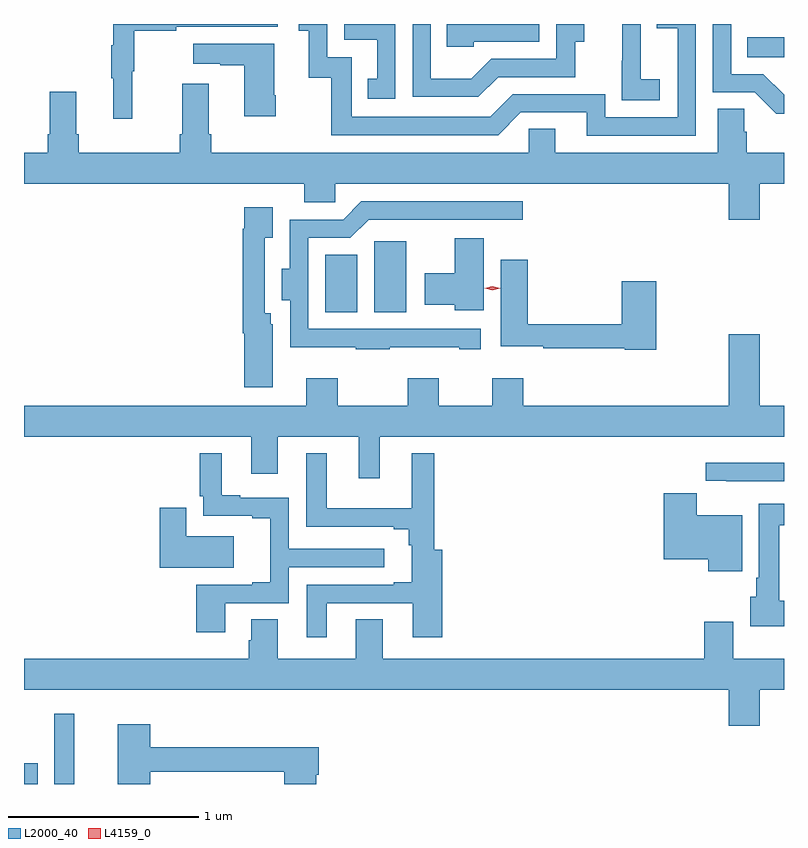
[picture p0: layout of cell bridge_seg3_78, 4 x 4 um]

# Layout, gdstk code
import gdstk
lib = gdstk.Library(unit=1e-6, precision=1e-09)
def R(c, l, rs):  # rectangles x0, y0, x1, y1
    for r in rs: c.add(gdstk.rectangle(r[:2], r[2:], *l))
def P(c, l, *ps):  # polygons
    for p in ps: c.add(gdstk.Polygon(p, *l))
L2000_40 = (2000, 40)
L4159_0 = (4159, 0)

bridge_seg3_78 = lib.new_cell('bridge_seg3_78')
R(bridge_seg3_78, L2000_40, [(425.035,688.433,425.107,688.543), (425.195,688.433,425.299,688.804), (426.62,690.917,426.79,691.219), (426.878,690.917,427.048,691.29), (428.842,692.258,429.035,692.362)])
P(bridge_seg3_78, L2000_40, [(428.38,692.143),(428.282,692.143),(428.282,692.372),(428.28,692.372),(428.28,692.433),(428.183,692.433),(428.183,692.239),(428.182,692.239),(428.182,692.033),(428.38,692.033)],
  [(427.401,692.34),(427.746,692.34),(427.746,692.433),(427.261,692.433),(427.261,692.313),(427.401,692.313)],
  [(428.571,692.433),(428.365,692.433),(428.365,692.41),(428.475,692.41),(428.475,691.941),(428.094,691.941),(428.094,692.064),(427.608,692.064),(427.488,691.944),(426.759,691.944),(426.759,692.259),(426.63,692.259),(426.63,692.433),(426.48,692.433),(426.48,692.397),(426.533,692.397),(426.533,692.151),(426.651,692.151),(426.651,691.848),(427.53,691.848),(427.65,691.968),(427.997,691.968),(427.997,691.845),(428.571,691.845)],
  [(429.035,692.06),(428.926,692.169),(428.757,692.169),(428.757,692.433),(428.661,692.433),(428.661,692.073),(428.88,692.073),(428.993,691.961),(429.035,691.961)],
  [(427.531,692.154),(427.935,692.154),(427.935,692.339),(427.984,692.339),(427.984,692.433),(427.836,692.433),(427.836,692.25),(427.494,692.25),(427.39,692.146),(427.176,692.146),(427.176,692.433),(427.08,692.433),(427.08,692.049),(427.426,692.049)],
  [(425.606,692.184),(425.614,692.184),(425.614,692.398),(425.837,692.398),(425.837,692.418),(426.37,692.418),(426.37,692.433),(425.504,692.433),(425.504,692.321),(425.493,692.321),(425.493,692.147),(425.504,692.147),(425.504,691.935),(425.606,691.935)],
  [(426.99,692.433),(426.72,692.433),(426.72,692.349),(426.893,692.349),(426.893,692.145),(426.844,692.145),(426.844,692.04),(426.99,692.04)],
  [(426.36,692.059),(426.352,692.059),(426.352,692.329),(425.925,692.329),(425.925,692.225),(426.068,692.225),(426.068,692.215),(426.194,692.215),(426.194,691.947),(426.36,691.947)],
  [(428.908,691.592),(429.035,691.592),(429.035,691.756),(428.84,691.756),(428.84,691.865),(428.826,691.865),(428.826,691.988),(428.687,691.988),(428.687,691.756),(427.831,691.756),(427.831,691.883),(427.692,691.883),(427.692,691.756),(426.02,691.756),(426.02,691.852),(426.007,691.852),(426.007,692.119),(425.867,692.119),(425.867,691.852),(425.855,691.852),(425.855,691.756),(425.324,691.756),(425.324,691.852),(425.311,691.852),(425.311,692.077),(425.171,692.077),(425.171,691.852),(425.159,691.852),(425.159,691.756),(425.035,691.756),(425.035,691.592),(426.509,691.592),(426.509,691.494),(426.672,691.494),(426.672,691.592),(428.744,691.592),(428.744,691.404),(428.908,691.404)],
  [(426.959,690.731),(427.325,690.731),(427.325,690.72),(427.438,690.72),(427.438,690.828),(426.531,690.828),(426.531,691.308),(426.753,691.308),(426.849,691.404),(427.66,691.404),(427.66,691.5),(426.81,691.5),(426.714,691.404),(426.434,691.404),(426.434,691.144),(426.392,691.144),(426.392,690.98),(426.435,690.98),(426.435,690.731),(426.781,690.731),(426.781,690.72),(426.959,690.72)],
  [(426.343,690.852),(426.334,690.852),(426.334,690.91),(426.303,690.91),(426.303,691.307),(426.343,691.307),(426.343,691.468),(426.195,691.468),(426.195,691.355),(426.187,691.355),(426.187,690.806),(426.194,690.806),(426.194,690.522),(426.343,690.522)],
  [(427.456,691.306),(427.301,691.306),(427.301,691.12),(427.143,691.12),(427.143,690.956),(427.301,690.956),(427.301,690.926),(427.456,690.926)],
  [(428.363,691.078),(428.18,691.078),(428.18,690.854),(427.685,690.854),(427.685,691.192),(427.544,691.192),(427.544,690.737),(427.768,690.737),(427.768,690.726),(428.196,690.726),(428.196,690.718),(428.363,690.718)],
  [(426.907,690.26),(429.035,690.26),(429.035,690.424),(428.908,690.424),(428.908,690.799),(428.744,690.799),(428.744,690.424),(427.663,690.424),(427.663,690.568),(427.499,690.568),(427.499,690.424),(427.219,690.424),(427.219,690.568),(427.055,690.568),(427.055,690.424),(426.685,690.424),(426.685,690.568),(426.521,690.568),(426.521,690.424),(425.035,690.424),(425.035,690.26),(426.23,690.26),(426.23,690.066),(426.37,690.066),(426.37,690.26),(426.797,690.26),(426.797,690.042),(426.907,690.042)],
  [(426.628,689.385),(427.082,689.385),(427.082,689.205),(427.235,689.205),(427.235,689.665),(427.195,689.665),(427.195,690.175),(427.076,690.175),(427.076,689.884),(426.628,689.884),(426.628,690.175),(426.521,690.175),(426.521,689.787),(426.98,689.787),(426.98,689.775),(427.059,689.775),(427.059,689.69),(427.076,689.69),(427.076,689.494),(426.98,689.494),(426.98,689.481),(426.524,689.481),(426.524,689.205),(426.628,689.205)],
  [(426.094,689.385),(426.429,689.385),(426.429,689.574),(426.931,689.574),(426.931,689.67),(426.429,689.67),(426.429,689.94),(426.172,689.94),(426.172,689.953),(426.076,689.953),(426.076,690.175),(425.959,690.175),(425.959,689.947),(425.979,689.947),(425.979,689.844),(426.236,689.844),(426.236,689.832),(426.332,689.832),(426.332,689.494),(426.236,689.494),(426.236,689.481),(425.942,689.481),(425.942,689.232),(426.094,689.232)],
  [(429.035,690.124),(428.622,690.124),(428.622,690.029),(428.731,690.029),(428.731,690.027),(429.035,690.027)],
  [(428.815,689.848),(428.575,689.848),(428.575,689.964),(428.402,689.964),(428.402,689.615),(428.636,689.615),(428.636,689.552),(428.815,689.552)],
  [(429.035,689.398),(429.01,689.398),(429.01,689.795),(429.035,689.795),(429.035,689.908),(428.903,689.908),(428.903,689.518),(428.888,689.518),(428.888,689.418),(428.858,689.418),(428.858,689.264),(429.035,689.264)],
  [(426.139,689.737),(425.89,689.737),(425.89,689.887),(425.75,689.887),(425.75,689.57),(426.139,689.57)],
  [(428.908,688.928),(429.035,688.928),(429.035,689.092),(428.767,689.092),(428.767,689.287),(428.615,689.287),(428.615,689.092),(426.922,689.092),(426.922,689.3),(426.782,689.3),(426.782,689.092),(426.37,689.092),(426.37,689.3),(426.23,689.3),(426.23,689.19),(426.218,689.19),(426.218,689.092),(425.035,689.092),(425.035,688.928),(428.744,688.928),(428.744,688.74),(428.908,688.74)],
  [(425.699,688.498),(426.404,688.498),(426.404,688.433),(426.574,688.433),(426.574,688.481),(426.587,688.481),(426.587,688.627),(425.699,688.627),(425.699,688.747),(425.528,688.747),(425.528,688.433),(425.699,688.433)])
P(bridge_seg3_78, L4159_0, [(427.5,691.033),(427.46,691.043),(427.46,691.043),(427.46,691.043),(427.5,691.053),(427.541,691.043),(427.541,691.043),(427.541,691.043)])

lib.write_gds('bridge_seg3_78.gds')
